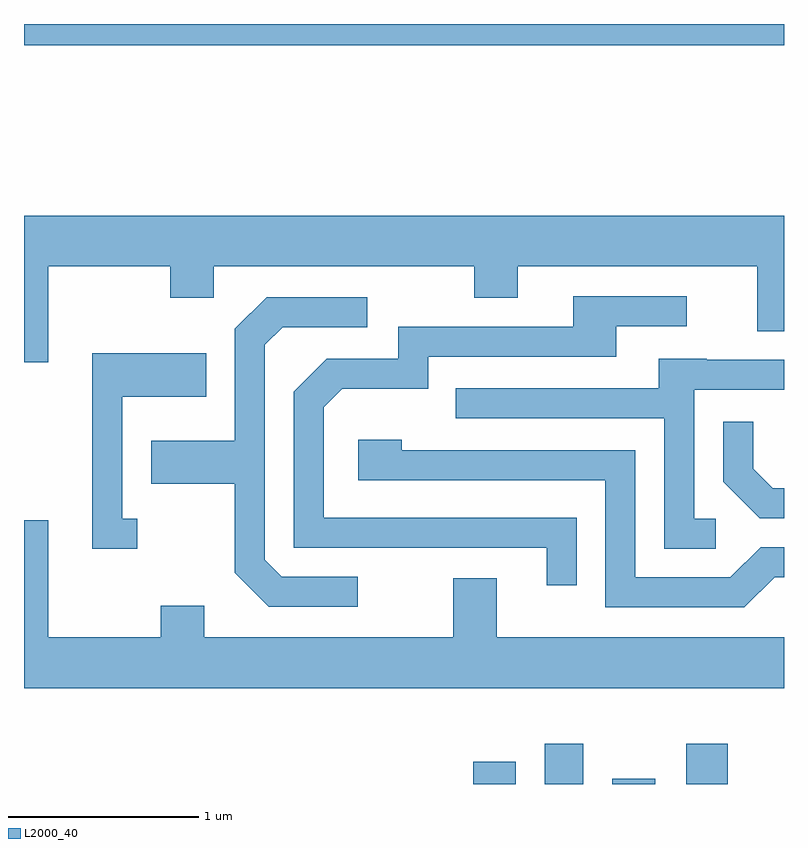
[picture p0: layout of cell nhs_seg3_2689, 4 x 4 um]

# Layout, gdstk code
import gdstk
lib = gdstk.Library(unit=1e-6, precision=1e-09)
def R(c, l, rs):  # rectangles x0, y0, x1, y1
    for r in rs: c.add(gdstk.rectangle(r[:2], r[2:], *l))
def P(c, l, *ps):  # polygons
    for p in ps: c.add(gdstk.Polygon(p, *l))
L2000_40 = (2000, 40)

nhs_seg3_2689 = lib.new_cell('nhs_seg3_2689')
R(nhs_seg3_2689, L2000_40, [(265.976,1189.892,266.199,1190.009), (266.351,1189.892,266.554,1190.104), (266.706,1189.892,266.934,1189.919), (267.096,1189.892,267.314,1190.104), (263.611,1193.781,267.611,1193.892)])
P(nhs_seg3_2689, L2000_40, [(263.739,1192.616),(264.381,1192.616),(264.381,1192.451),(264.609,1192.451),(264.609,1192.616),(265.981,1192.616),(265.981,1192.451),(266.209,1192.451),(266.209,1192.616),(267.471,1192.616),(267.471,1192.276),(267.611,1192.276),(267.611,1192.884),(263.611,1192.884),(263.611,1192.111),(263.739,1192.111)],
  [(266.519,1191.294),(265.189,1191.294),(265.189,1191.874),(265.287,1191.971),(265.739,1191.971),(265.739,1192.141),(266.729,1192.141),(266.729,1192.301),(267.098,1192.301),(267.098,1192.459),(266.501,1192.459),(266.501,1192.299),(265.581,1192.299),(265.581,1192.129),(265.204,1192.129),(265.031,1191.957),(265.031,1191.136),(266.361,1191.136),(266.361,1190.938),(266.519,1190.938)],
  [(265.368,1190.984),(264.967,1190.984),(264.879,1191.072),(264.879,1192.204),(264.972,1192.296),(265.418,1192.296),(265.418,1192.454),(264.889,1192.454),(264.721,1192.287),(264.721,1191.699),(264.281,1191.699),(264.281,1191.471),(264.721,1191.471),(264.721,1191.004),(264.899,1190.826),(265.368,1190.826)],
  [(264.208,1191.289),(264.129,1191.289),(264.129,1191.931),(264.569,1191.931),(264.569,1192.159),(263.971,1192.159),(263.971,1191.131),(264.208,1191.131)],
  [(267.253,1191.289),(267.139,1191.289),(267.139,1191.966),(267.611,1191.966),(267.611,1192.124),(267.205,1192.124),(267.205,1192.129),(266.951,1192.129),(266.951,1191.974),(265.883,1191.974),(265.883,1191.816),(266.981,1191.816),(266.981,1191.131),(267.253,1191.131)],
  [(267.611,1191.449),(267.552,1191.449),(267.449,1191.552),(267.449,1191.798),(267.291,1191.798),(267.291,1191.484),(267.484,1191.291),(267.611,1191.291)],
  [(267.562,1190.981),(267.611,1190.981),(267.611,1191.139),(267.489,1191.139),(267.329,1190.979),(266.829,1190.979),(266.829,1191.649),(265.599,1191.649),(265.599,1191.704),(265.371,1191.704),(265.371,1191.491),(266.671,1191.491),(266.671,1190.821),(267.402,1190.821)],
  [(267.611,1190.664),(266.099,1190.664),(266.099,1190.974),(265.871,1190.974),(265.871,1190.664),(264.559,1190.664),(264.559,1190.829),(264.331,1190.829),(264.331,1190.664),(263.739,1190.664),(263.739,1191.279),(263.611,1191.279),(263.611,1190.396),(267.611,1190.396)])

lib.write_gds('nhs_seg3_2689.gds')
